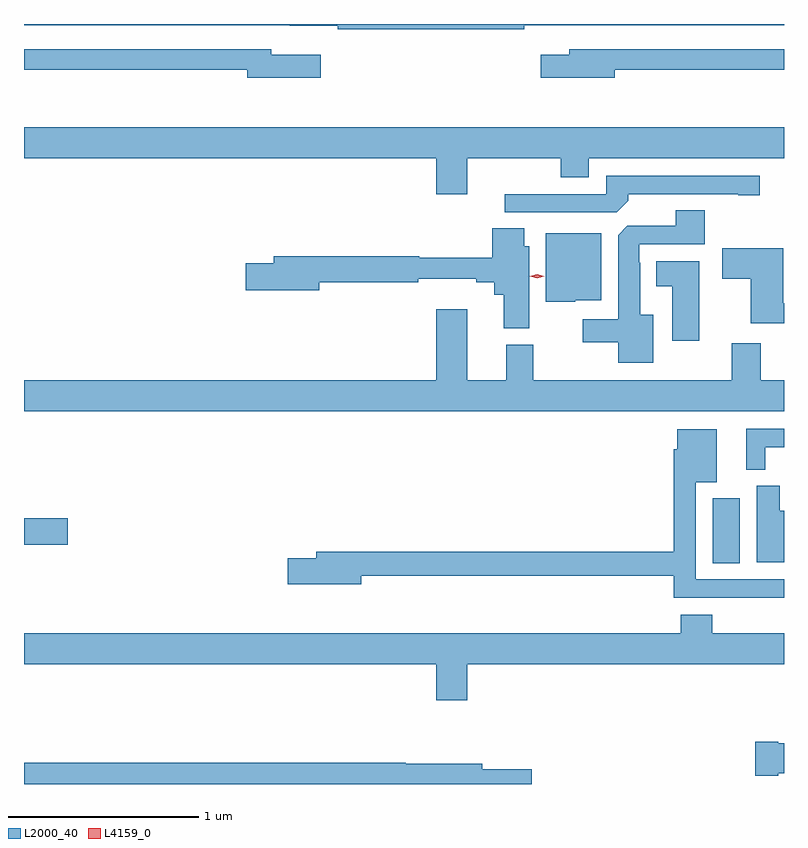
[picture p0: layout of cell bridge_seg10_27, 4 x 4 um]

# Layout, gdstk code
import gdstk
lib = gdstk.Library(unit=1e-6, precision=1e-09)
def R(c, l, rs):  # rectangles x0, y0, x1, y1
    for r in rs: c.add(gdstk.rectangle(r[:2], r[2:], *l))
def P(c, l, *ps):  # polygons
    for p in ps: c.add(gdstk.Polygon(p, *l))
L2000_40 = (2000, 40)
L4159_0 = (4159, 0)

bridge_seg10_27 = lib.new_cell('bridge_seg10_27')
R(bridge_seg10_27, L2000_40, [(957.671,1259.557,957.814,1259.899), (954.046,1259.653,954.277,1259.795)])
P(bridge_seg10_27, L2000_40, [(956.678,1262.388),(958.046,1262.388),(958.046,1262.395),(954.046,1262.395),(954.046,1262.388),(955.444,1262.388),(955.444,1262.387),(955.696,1262.387),(955.696,1262.368),(956.678,1262.368)],
  [(957.154,1262.154),(958.046,1262.154),(958.046,1262.262),(956.915,1262.262),(956.915,1262.233),(956.766,1262.233),(956.766,1262.111),(957.154,1262.111)],
  [(955.609,1262.233),(955.348,1262.233),(955.348,1262.262),(954.046,1262.262),(954.046,1262.154),(955.22,1262.154),(955.22,1262.111),(955.609,1262.111)],
  [(956.38,1261.688),(956.872,1261.688),(956.872,1261.589),(957.019,1261.589),(957.019,1261.688),(958.046,1261.688),(958.046,1261.852),(954.046,1261.852),(954.046,1261.688),(956.216,1261.688),(956.216,1261.5),(956.38,1261.5)],
  [(957.227,1261.466),(957.227,1261.5),(957.806,1261.5),(957.806,1261.495),(957.919,1261.495),(957.919,1261.596),(957.111,1261.596),(957.111,1261.5),(956.577,1261.5),(956.577,1261.404),(957.165,1261.404)],
  [(957.358,1260.865),(957.289,1260.865),(957.289,1261.139),(957.285,1261.139),(957.285,1261.236),(957.629,1261.236),(957.629,1261.415),(957.476,1261.415),(957.476,1261.332),(957.222,1261.332),(957.173,1261.283),(957.173,1260.841),(956.988,1260.841),(956.988,1260.719),(957.173,1260.719),(957.173,1260.611),(957.358,1260.611)],
  [(956.704,1261.224),(956.68,1261.224),(956.68,1261.319),(956.51,1261.319),(956.51,1261.165),(956.126,1261.165),(956.126,1261.172),(955.361,1261.172),(955.361,1261.136),(955.212,1261.136),(955.212,1260.994),(955.6,1260.994),(955.6,1261.036),(956.12,1261.036),(956.12,1261.055),(956.426,1261.055),(956.426,1261.036),(956.522,1261.036),(956.522,1260.971),(956.57,1260.971),(956.57,1260.793),(956.704,1260.793)],
  [(956.946,1260.941),(957.085,1260.941),(957.085,1261.294),(956.792,1261.294),(956.792,1260.932),(956.946,1260.932)],
  [(958.046,1260.925),(958.042,1260.925),(958.042,1261.216),(957.72,1261.216),(957.72,1261.054),(957.872,1261.054),(957.872,1260.821),(958.046,1260.821)],
  [(957.601,1261.147),(957.374,1261.147),(957.374,1261.016),(957.458,1261.016),(957.458,1260.729),(957.601,1260.729)],
  [(958.046,1260.52),(957.923,1260.52),(957.923,1260.715),(957.77,1260.715),(957.77,1260.52),(956.725,1260.52),(956.725,1260.708),(956.585,1260.708),(956.585,1260.52),(956.38,1260.52),(956.38,1260.895),(956.216,1260.895),(956.216,1260.52),(954.046,1260.52),(954.046,1260.356),(958.046,1260.356)],
  [(957.946,1260.168),(958.046,1260.168),(958.046,1260.264),(957.848,1260.264),(957.848,1260.049),(957.946,1260.049)],
  [(958.046,1259.472),(957.582,1259.472),(957.582,1259.984),(957.691,1259.984),(957.691,1260.262),(957.485,1260.262),(957.485,1260.158),(957.466,1260.158),(957.466,1259.618),(955.583,1259.618),(955.583,1259.582),(955.434,1259.582),(955.434,1259.447),(955.822,1259.447),(955.822,1259.49),(957.466,1259.49),(957.466,1259.376),(957.751,1259.376),(957.751,1259.375),(958.046,1259.375)],
  [(958.046,1259.833),(958.024,1259.833),(958.024,1259.964),(957.902,1259.964),(957.902,1259.561),(958.046,1259.561)],
  [(956.38,1259.024),(958.046,1259.024),(958.046,1259.188),(957.668,1259.188),(957.668,1259.287),(957.503,1259.287),(957.503,1259.188),(954.046,1259.188),(954.046,1259.024),(956.216,1259.024),(956.216,1258.836),(956.38,1258.836)],
  [(958.017,1258.451),(958.046,1258.451),(958.046,1258.609),(958.017,1258.609),(958.017,1258.617),(957.894,1258.617),(957.894,1258.439),(958.017,1258.439)],
  [(956.719,1258.472),(956.458,1258.472),(956.458,1258.501),(956.054,1258.501),(956.054,1258.508),(954.046,1258.508),(954.046,1258.395),(956.719,1258.395)])
P(bridge_seg10_27, L4159_0, [(956.747,1261.058),(956.709,1261.067),(956.709,1261.067),(956.709,1261.068),(956.747,1261.078),(956.785,1261.068),(956.785,1261.068),(956.785,1261.068)])

lib.write_gds('bridge_seg10_27.gds')
